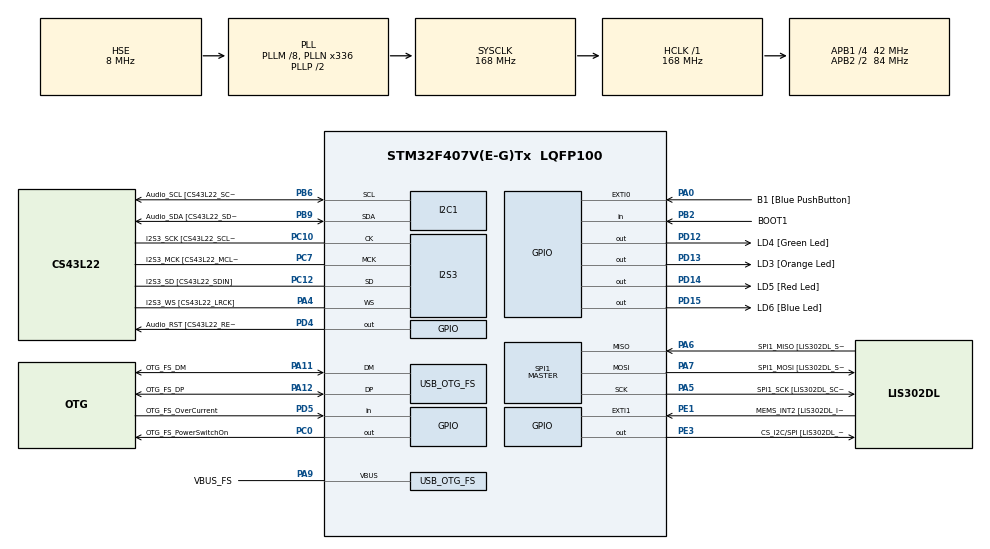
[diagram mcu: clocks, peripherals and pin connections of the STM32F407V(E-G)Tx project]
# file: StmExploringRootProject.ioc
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I2S3.AudioFreq-Half_Duplex_Master=I2S_AUDIOFREQ_96K
I2S3.ErrorAudioFreq=-2.34 %
I2S3.ErrorAudioFreq-Half_Duplex_Master=0.8 %
I2S3.FullDuplexMode=I2S_FULLDUPLEXMODE_DISABLE
I2S3.Instance=SPI$Index
I2S3.RealAudioFreq=93.75 KHz
I2S3.RealAudioFreq-Half_Duplex_Master=96.774 KHz
I2S3.VirtualMode=I2S_MODE_MASTER
Mcu.Family=STM32F4
Mcu.Name=STM32F407V(E-G)Tx
Mcu.Package=LQFP100
NVIC.OTG_FS_IRQn=true\:0\:0\:false\:false\:true\:true\:true\:true
NVIC.PriorityGroup=NVIC_PRIORITYGROUP_0
PA0-WKUP.GPIO_Label=B1 [Blue PushButton]
PA0-WKUP.GPIO_ModeDefaultEXTI=GPIO_MODE_EVT_RISING
PA0-WKUP.GPIO_PuPd=GPIO_NOPULL
PA0-WKUP.Signal=GPXTI0
PA10.GPIO_Label=OTG_FS_ID
PA10.GPIO_Mode=GPIO_MODE_AF_PP
PA10.GPIO_PuPd=GPIO_NOPULL
PA10.GPIO_Speed=GPIO_SPEED_FREQ_LOW
PA10.Signal=USB_OTG_FS_ID
PA11.GPIO_Label=OTG_FS_DM
PA11.GPIO_Mode=GPIO_MODE_AF_PP
PA11.GPIO_PuPd=GPIO_NOPULL
PA11.GPIO_Speed=GPIO_SPEED_FREQ_LOW
PA11.Mode=Host_Only
PA11.Signal=USB_OTG_FS_DM
PA12.GPIO_Label=OTG_FS_DP
PA12.GPIO_Mode=GPIO_MODE_AF_PP
PA12.GPIO_PuPd=GPIO_NOPULL
PA12.GPIO_Speed=GPIO_SPEED_FREQ_LOW
PA12.Mode=Host_Only
PA12.Signal=USB_OTG_FS_DP
PA13.GPIO_Label=SWDIO
PA13.Mode=Serial_Wire
PA13.Signal=SYS_JTMS-SWDIO
PA14.GPIO_Label=SWCLK
PA14.Mode=Serial_Wire
PA14.Signal=SYS_JTCK-SWCLK
PA4.GPIO_Label=I2S3_WS [CS43L22_LRCK]
PA4.GPIO_Mode=GPIO_MODE_AF_PP
PA4.GPIO_PuPd=GPIO_NOPULL
PA4.GPIO_Speed=GPIO_SPEED_FREQ_LOW
PA4.Mode=Half_Duplex_Master
PA4.Signal=I2S3_WS
PA5.GPIO_Label=SPI1_SCK [LIS302DL_SCL/SPC]
PA5.GPIO_Mode=GPIO_MODE_AF_PP
PA5.GPIO_PuPd=GPIO_NOPULL
PA5.GPIO_Speed=GPIO_SPEED_FREQ_LOW
PA5.Mode=Full_Duplex_Master
PA5.Signal=SPI1_SCK
PA6.GPIO_Label=SPI1_MISO [LIS302DL_SDO]
PA6.GPIO_Mode=GPIO_MODE_AF_PP
PA6.GPIO_PuPd=GPIO_NOPULL
PA6.GPIO_Speed=GPIO_SPEED_FREQ_LOW
PA6.Mode=Full_Duplex_Master
PA6.Signal=SPI1_MISO
PA7.GPIO_Label=SPI1_MOSI [LIS302DL_SDA/SDI/SDO]
PA7.GPIO_Mode=GPIO_MODE_AF_PP
PA7.GPIO_PuPd=GPIO_NOPULL
PA7.GPIO_Speed=GPIO_SPEED_FREQ_LOW
PA7.Mode=Full_Duplex_Master
PA7.Signal=SPI1_MOSI
PA9.GPIO_Label=VBUS_FS
PA9.GPIO_Mode=GPIO_MODE_INPUT
PA9.GPIO_PuPd=GPIO_NOPULL
PA9.Mode=Activate_VBUS
PA9.Signal=USB_OTG_FS_VBUS
PB10.GPIO_Label=CLK_IN [MP45DT02_CLK]
PB10.GPIO_Mode=GPIO_MODE_AF_PP
PB10.GPIO_PuPd=GPIO_NOPULL
PB10.GPIO_Speed=GPIO_SPEED_FREQ_LOW
PB10.Signal=I2S2_CK
PB2.GPIO_Label=BOOT1
PB2.GPIO_Mode=GPIO_MODE_INPUT
PB2.GPIO_PuPd=GPIO_NOPULL
PB2.Signal=GPIO_Input
PB3.GPIO_Label=SWO
PB3.Signal=SYS_JTDO-SWO
PB6.GPIO_Label=Audio_SCL [CS43L22_SCL]
PB6.GPIO_Mode=GPIO_MODE_AF_OD
PB6.GPIO_Pu=GPIO_PULLUP
PB6.GPIO_PuPd=GPIO_NOPULL
PB6.GPIO_Speed=GPIO_SPEED_FREQ_LOW
PB6.Mode=I2C
PB6.Signal=I2C1_SCL
PB9.GPIO_Label=Audio_SDA [CS43L22_SDA]
PB9.GPIO_Mode=GPIO_MODE_AF_OD
PB9.GPIO_Pu=GPIO_PULLUP
PB9.GPIO_PuPd=GPIO_NOPULL
PB9.GPIO_Speed=GPIO_SPEED_FREQ_LOW
PB9.Mode=I2C
PB9.Signal=I2C1_SDA
PC0.GPIO_Label=OTG_FS_PowerSwitchOn
PC0.GPIO_PuPd=GPIO_NOPULL
PC0.GPIO_Speed=GPIO_SPEED_FREQ_LOW
PC0.PinState=GPIO_PIN_SET
PC0.Signal=GPIO_Output
PC10.GPIO_Label=I2S3_SCK [CS43L22_SCLK]
PC10.GPIO_Mode=GPIO_MODE_AF_PP
PC10.GPIO_PuPd=GPIO_NOPULL
PC10.GPIO_Speed=GPIO_SPEED_FREQ_LOW
PC10.Mode=Half_Duplex_Master
PC10.Signal=I2S3_CK
PC12.GPIO_Label=I2S3_SD [CS43L22_SDIN]
PC12.GPIO_Mode=GPIO_MODE_AF_PP
PC12.GPIO_PuPd=GPIO_NOPULL
PC12.GPIO_Speed=GPIO_SPEED_FREQ_LOW
PC12.Mode=Half_Duplex_Master
PC12.Signal=I2S3_SD
PC14-OSC32_IN.GPIO_Label=PC14-OSC32_IN
PC14-OSC32_IN.Mode=LSE-External-Oscillator
PC14-OSC32_IN.Signal=RCC_OSC32_IN
PC15-OSC32_OUT.GPIO_Label=PC15-OSC32_OUT
PC15-OSC32_OUT.Mode=LSE-External-Oscillator
PC15-OSC32_OUT.Signal=RCC_OSC32_OUT
PC3.GPIO_Label=PDM_OUT [MP45DT02_DOUT]
PC3.GPIO_Mode=GPIO_MODE_AF_PP
PC3.GPIO_PuPd=GPIO_NOPULL
PC3.GPIO_Speed=GPIO_SPEED_FREQ_LOW
PC3.Signal=I2S2_SD
PC7.GPIO_Label=I2S3_MCK [CS43L22_MCLK]
PC7.GPIO_Mode=GPIO_MODE_AF_PP
PC7.GPIO_PuPd=GPIO_NOPULL
PC7.GPIO_Speed=GPIO_SPEED_FREQ_LOW
PC7.Mode=Master_Clock_Activated
PC7.Signal=I2S3_MCK
PD12.GPIO_Label=LD4 [Green Led]
PD12.GPIO_PuPd=GPIO_NOPULL
PD12.GPIO_Speed=GPIO_SPEED_FREQ_LOW
PD12.Signal=GPIO_Output
PD13.GPIO_Label=LD3 [Orange Led]
PD13.GPIO_PuPd=GPIO_NOPULL
PD13.GPIO_Speed=GPIO_SPEED_FREQ_LOW
PD13.Signal=GPIO_Output
PD14.GPIO_Label=LD5 [Red Led]
PD14.GPIO_PuPd=GPIO_NOPULL
PD14.GPIO_Speed=GPIO_SPEED_FREQ_LOW
PD14.Signal=GPIO_Output
PD15.GPIO_Label=LD6 [Blue Led]
PD15.GPIO_PuPd=GPIO_NOPULL
PD15.GPIO_Speed=GPIO_SPEED_FREQ_LOW
PD15.Signal=GPIO_Output
PD4.GPIO_Label=Audio_RST [CS43L22_RESET]
PD4.GPIO_PuPd=GPIO_NOPULL
PD4.GPIO_Speed=GPIO_SPEED_FREQ_LOW
PD4.Signal=GPIO_Output
PD5.GPIO_Label=OTG_FS_OverCurrent
PD5.GPIO_Mode=GPIO_MODE_INPUT
PD5.GPIO_PuPd=GPIO_NOPULL
PD5.Signal=GPIO_Input
PE1.GPIO_Label=MEMS_INT2 [LIS302DL_INT2]
PE1.GPIO_ModeDefaultEXTI=GPIO_MODE_EVT_RISING
PE1.GPIO_PuPd=GPIO_NOPULL
PE1.Signal=GPXTI1
PE3.GPIO_Label=CS_I2C/SPI [LIS302DL_CS_I2C/SPI]
PE3.GPIO_PuPd=GPIO_NOPULL
PE3.GPIO_Speed=GPIO_SPEED_FREQ_LOW
PE3.Signal=GPIO_Output
PH0-OSC_IN.GPIO_Label=PH0-OSC_IN
PH0-OSC_IN.Mode=HSE-External-Oscillator
PH0-OSC_IN.Signal=RCC_OSC_IN
PH1-OSC_OUT.GPIO_Label=PH1-OSC_OUT
PH1-OSC_OUT.Mode=HSE-External-Oscillator
PH1-OSC_OUT.Signal=RCC_OSC_OUT
ProjectManager.HeapSize=0x200
ProjectManager.StackSize=0x400
ProjectManager.TargetToolchain=STM32CubeIDE
RCC.48MHZClocksFreq_Value=48000000
RCC.AHBFreq_Value=168000000
RCC.APB1CLKDivider=RCC_HCLK_DIV4
RCC.APB1Freq_Value=42000000
RCC.APB1TimFreq_Value=84000000
RCC.APB2CLKDivider=RCC_HCLK_DIV2
RCC.APB2Freq_Value=84000000
RCC.APB2TimFreq_Value=168000000
RCC.CortexFreq_Value=168000000
RCC.HCLKFreq_Value=168000000
RCC.HSE_VALUE=8000000
RCC.HSI_VALUE=16000000
RCC.PLLM=8
RCC.PLLN=336
RCC.PLLQ=7
RCC.SYSCLKFreq_VALUE=168000000
RCC.SYSCLKSource=RCC_SYSCLKSOURCE_PLLCLK
RCC.VCOOutputFreq_Value=336000000
SPI1.BaudRatePrescaler-Full_Duplex_Master=SPI_BAUDRATEPRESCALER_2
SPI1.CalculateBaudRate-Full_Duplex_Master=42.0 MBits/s
SPI1.Direction=SPI_DIRECTION_2LINES
SPI1.Mode=SPI_MODE_MASTER
SPI1.Mode-Full_Duplex_Master=SPI_MODE_MASTER
SPI1.VirtualType=VM_MASTER
USB_HOST.BSP.number=1
USB_HOST.USBH_HandleTypeDef-CDC_FS=hUsbHostFS
USB_HOST.VirtualModeFS=Cdc
USB_HOST0.BSP.STBoard=false
USB_HOST0.BSP.api=Unknown
USB_HOST0.BSP.instance=PC0
USB_HOST0.BSP.ip=GPIO
USB_HOST0.BSP.mode=Output
USB_HOST0.BSP.name=Drive_VBUS_FS
USB_HOST0.BSP.solution=PC0
USB_OTG_FS.VirtualMode=Host_Only
USB_OTG_FS.phy_itface=HCD_PHY_EMBEDDED
VP_USB_HOST_VS_USB_HOST_CDC_FS.Mode=CDC_FS
board=STM32F407G-DISC1

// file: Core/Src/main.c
/* USER CODE BEGIN Header */
/**
  ******************************************************************************
  * @file           : main.c
  * @brief          : Main program body
  ******************************************************************************
  * @attention
  *
  * Copyright (c) 2026 STMicroelectronics.
  * All rights reserved.
  *
  * This software is licensed under terms that can be found in the LICENSE file
  * in the root directory of this software component.
  * If no LICENSE file comes with this software, it is provided AS-IS.
  *
  ******************************************************************************
  */
/* USER CODE END Header */
#include "main.h"
#include "i2c.h"
#include "i2s.h"
#include "spi.h"
#include "usb_host.h"
#include "gpio.h"

void SystemClock_Config(void);
void MX_USB_HOST_Process(void);

int main(void)
{

  /* MCU Configuration--------------------------------------------------------*/

  /* Reset of all peripherals, Initializes the Flash interface and the Systick. */
  HAL_Init();

  /* Configure the system clock */
  SystemClock_Config();

  /* Initialize all configured peripherals */
  MX_GPIO_Init();
  MX_I2C1_Init();
  MX_I2S3_Init();
  MX_SPI1_Init();
  MX_USB_HOST_Init();
  /* USER CODE BEGIN 2 */
  //Init LEDs
  LED_Init();

  //Init Button
  Button_Init();
  /* USER CODE END 2 */

  /* Infinite loop */
  /* USER CODE BEGIN WHILE */
  const int arraysLengths = 4;
  uint16_t ledPins [4] = { LD6_Pin, LD5_Pin, LD4_Pin, LD3_Pin };
  GPIO_TypeDef * ledPorts [4] = { LD6_GPIO_Port, LD5_GPIO_Port, LD4_GPIO_Port, LD3_GPIO_Port };
  int selectedLedIndex = 0;

  void cycleThroughIndexes()
  {
	  if (selectedLedIndex + 1 > arraysLengths - 1)
	  {
		  selectedLedIndex = 0;
	  }
	  else
	  {
		  selectedLedIndex += 1;
	  }
  }

  void changeLed()
    {
  	  HAL_GPIO_TogglePin(ledPorts[selectedLedIndex], ledPins[selectedLedIndex]);
  	  cycleThroughIndexes();
  	  HAL_Delay(500);
  	  HAL_GPIO_TogglePin(ledPorts[selectedLedIndex], ledPins[selectedLedIndex]);
  	  HAL_Delay(500);
    }

  HAL_GPIO_TogglePin(ledPorts[selectedLedIndex], ledPins[selectedLedIndex]);

  while (1)
  {
	if (HAL_GPIO_ReadPin(B1_GPIO_Port, B1_Pin) == GPIO_PIN_SET)
	{
		changeLed();
	}
    /* USER CODE END WHILE */
    MX_USB_HOST_Process();

  }
}

void SystemClock_Config(void)
{
  RCC_OscInitTypeDef RCC_OscInitStruct = {0};
  RCC_ClkInitTypeDef RCC_ClkInitStruct = {0};

  /** Configure the main internal regulator output voltage
  */
  __HAL_RCC_PWR_CLK_ENABLE();
  __HAL_PWR_VOLTAGESCALING_CONFIG(PWR_REGULATOR_VOLTAGE_SCALE1);

  /** Initializes the RCC Oscillators according to the specified parameters
  * in the RCC_OscInitTypeDef structure.
  */
  RCC_OscInitStruct.OscillatorType = RCC_OSCILLATORTYPE_HSE;
  RCC_OscInitStruct.HSEState = RCC_HSE_ON;
  RCC_OscInitStruct.PLL.PLLState = RCC_PLL_ON;
  RCC_OscInitStruct.PLL.PLLSource = RCC_PLLSOURCE_HSE;
  RCC_OscInitStruct.PLL.PLLM = 8;
  RCC_OscInitStruct.PLL.PLLN = 336;
  RCC_OscInitStruct.PLL.PLLP = RCC_PLLP_DIV2;
  RCC_OscInitStruct.PLL.PLLQ = 7;
  if (HAL_RCC_OscConfig(&RCC_OscInitStruct) != HAL_OK)
  {
    Error_Handler();
  }

  /** Initializes the CPU, AHB and APB buses clocks
  */
  RCC_ClkInitStruct.ClockType = RCC_CLOCKTYPE_HCLK|RCC_CLOCKTYPE_SYSCLK
                              |RCC_CLOCKTYPE_PCLK1|RCC_CLOCKTYPE_PCLK2;
  RCC_ClkInitStruct.SYSCLKSource = RCC_SYSCLKSOURCE_PLLCLK;
  RCC_ClkInitStruct.AHBCLKDivider = RCC_SYSCLK_DIV1;
  RCC_ClkInitStruct.APB1CLKDivider = RCC_HCLK_DIV4;
  RCC_ClkInitStruct.APB2CLKDivider = RCC_HCLK_DIV2;

  if (HAL_RCC_ClockConfig(&RCC_ClkInitStruct, FLASH_LATENCY_5) != HAL_OK)
  {
    Error_Handler();
  }
}

void Error_Handler(void)
{
  __disable_irq();
  while (1)
  {
  }
}
